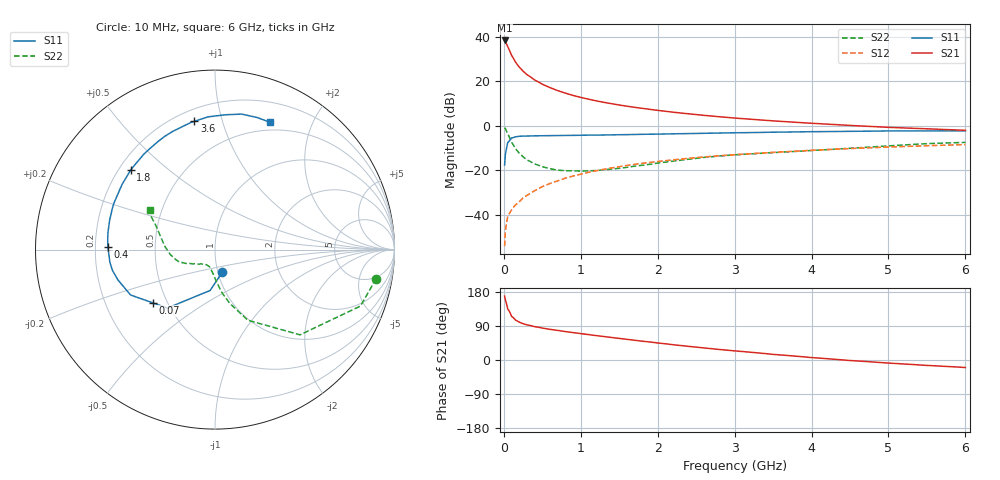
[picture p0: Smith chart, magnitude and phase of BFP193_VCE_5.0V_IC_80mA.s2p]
! (c) 2017  Infineon Technologies AG, Munich
! Infineon Technologies  Discrete & RF Semiconductors
! BFP193
! VCE =  5.0 V,  IC =  80 mA
! Common Emitter S-Parameters:  Jan 2017
# GHz  S  MA  R  50
!  f  S11  S21  S12  S22
! GHz  MAG  ANG  MAG  ANG  MAG  ANG  MAG  ANG
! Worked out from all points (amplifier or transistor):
!   77 points, 10 MHz to 6 GHz, reference 50 ohm
!   highest |S21| = 38.3 dB at 10 MHz (marker M1)
!   |S21| within 3 dB of that: start of sweep to 53.88 MHz
!   unconditionally stable (mu >= 1): 392.2 MHz to 2.35 GHz
!   at 130 MHz: K = 0.72, MSG = 33.2 dB, |S12| = -36.4 dB
!   at 2.2 GHz: K = 1.01, MAG = 10.1 dB, |S12| = -15.3 dB
!   at 6 GHz: K = 0.93, MSG = 3.2 dB, |S12| = -8.4 dB
!   S11 on the Smith chart (normalised r, x): 10 MHz: 1.05, -0.27; 70 MHz: 0.42, -0.31; 400 MHz: 0.25, +0.01; 1.8 GHz: 0.25, +0.38; 3.6 GHz: 0.27, +0.82; 6 GHz: 0.41, +1.44
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0.01  0.1321 -72.0  82.37 168.7  0.002 80.3  0.9125 -10.2
0.02  0.2294 -96.8  79.28 158.5  0.0043 80.4  0.8695 -21.2
0.05  0.4203 -129.2  60.2 134.8  0.0091 61.9  0.6706 -45.1
0.07  0.4569 -139.6  50.84 129.0  0.0107 62.0  0.5684 -51.1
0.1  0.5343 -151.8  38.37 115.2  0.013 62.2  0.4334 -65.1
0.15  0.5668 -162.7  27.15 105.7  0.0167 61.9  0.3109 -74.6
0.2  0.5832 -168.6  20.84 100.0  0.0198 65.0  0.2445 -80.7
0.25  0.59 -173.2  16.86 95.8  0.0242 66.7  0.2024 -84.5
0.3  0.5911 -176.6  14.13 92.8  0.0274 68.9  0.1732 -88.2
0.4  0.5976 178.4  10.72 88.0  0.035 70.7  0.1402 -93.4
0.5  0.6008 174.2  8.594 84.3  0.0434 70.9  0.1216 -98.2
0.7  0.6058 167.6  6.18 78.1  0.0583 71.5  0.1015 -106.7
0.9  0.6117 161.3  4.815 72.3  0.0748 69.5  0.098 -114.5
1.1  0.6194 155.5  3.967 67.1  0.0906 67.9  0.0979 -121.3
1.4  0.628 147.2  3.143 59.4  0.1139 64.7  0.1072 -131.6
1.8  0.6462 136.6  2.472 49.6  0.1444 59.7  0.1309 -142.5
2.1  0.6575 129.0  2.124 42.8  0.1655 55.8  0.1536 -149.3
3.1  0.7025 107.8  1.454 22.4  0.2308 42.8  0.2292 -167.1
3.6  0.7239 99.1  1.262 13.3  0.2597 37.0  0.2563 -176.0
4.1  0.7421 91.5  1.118 5.0  0.2878 30.8  0.286 174.0
5.1  0.7692 77.6  0.912 -9.3  0.3394 19.1  0.3637 156.8
6  0.7726 66.5  0.795 -19.8  0.3803 8.9  0.4258 148.5
